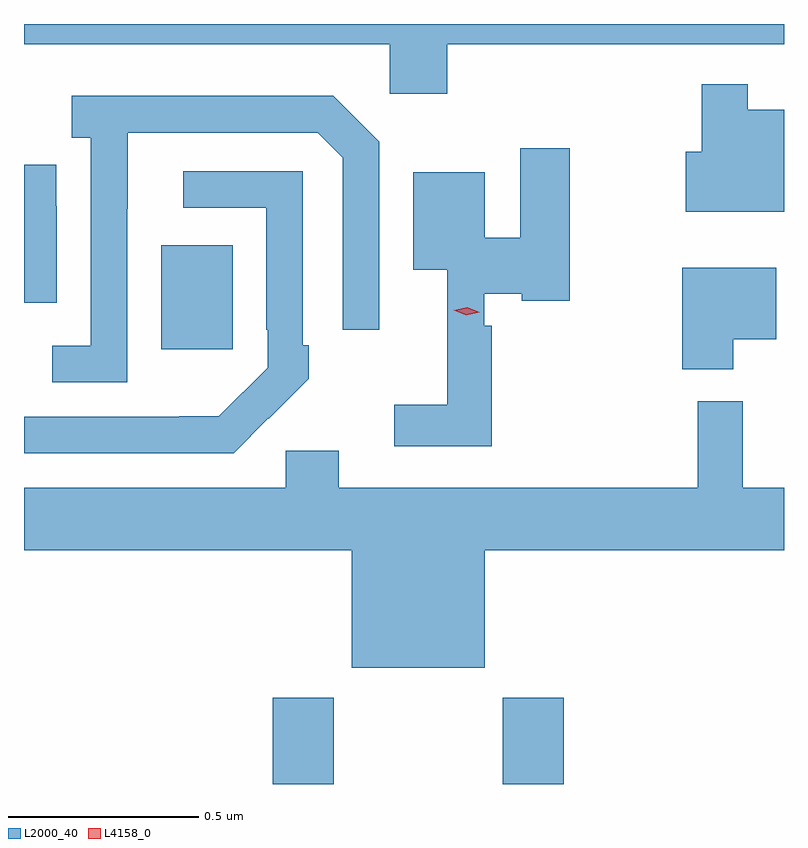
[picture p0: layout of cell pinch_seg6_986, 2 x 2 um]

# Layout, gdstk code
import gdstk
lib = gdstk.Library(unit=1e-6, precision=1e-09)
def R(c, l, rs):  # rectangles x0, y0, x1, y1
    for r in rs: c.add(gdstk.rectangle(r[:2], r[2:], *l))
def P(c, l, *ps):  # polygons
    for p in ps: c.add(gdstk.Polygon(p, *l))
L2000_40 = (2000, 40)
L4158_0 = (4158, 0)

pinch_seg6_986 = lib.new_cell('pinch_seg6_986')
R(pinch_seg6_986, L2000_40, [(354.077,928.073,354.237,928.3), (354.682,928.073,354.842,928.3), (353.783,929.217,353.971,929.491)])
P(pinch_seg6_986, L2000_40, [(354.536,930.02),(355.422,930.02),(355.422,930.073),(353.422,930.073),(353.422,930.02),(354.384,930.02),(354.384,929.889),(354.536,929.889)],
  [(355.422,929.848),(355.327,929.848),(355.327,929.914),(355.206,929.914),(355.206,929.737),(355.164,929.737),(355.164,929.579),(355.422,929.579)],
  [(353.694,929.587),(353.695,929.587),(353.695,929.787),(354.195,929.787),(354.261,929.721),(354.261,929.268),(354.357,929.268),(354.357,929.763),(354.236,929.884),(353.547,929.884),(353.547,929.774),(353.598,929.774),(353.598,929.226),(353.496,929.226),(353.496,929.13),(353.694,929.13)],
  [(354.653,929.279),(354.633,929.279),(354.633,929.363),(354.732,929.363),(354.732,929.345),(354.858,929.345),(354.858,929.746),(354.728,929.746),(354.728,929.51),(354.634,929.51),(354.634,929.683),(354.446,929.683),(354.446,929.426),(354.536,929.426),(354.536,929.071),(354.396,929.071),(354.396,928.962),(354.653,928.962)],
  [(353.508,929.594),(353.507,929.594),(353.507,929.703),(353.422,929.703),(353.422,929.34),(353.508,929.34)],
  [(354.065,929.035),(354.066,929.034),(354.171,929.139),(354.171,929.227),(354.156,929.227),(354.156,929.685),(353.841,929.685),(353.841,929.589),(354.06,929.589),(354.06,929.269),(354.063,929.269),(354.063,929.169),(353.935,929.041),(353.831,929.041),(353.831,929.04),(353.422,929.04),(353.422,928.944),(353.974,928.944)],
  [(355.288,929.243),(355.402,929.243),(355.402,929.431),(355.154,929.431),(355.154,929.165),(355.288,929.165)],
  [(354.634,928.688),(355.422,928.688),(355.422,928.852),(355.313,928.852),(355.313,929.08),(355.195,929.08),(355.195,928.852),(354.25,928.852),(354.25,928.95),(354.111,928.95),(354.111,928.852),(353.422,928.852),(353.422,928.688),(354.284,928.688),(354.284,928.379),(354.634,928.379)])
P(pinch_seg6_986, L4158_0, [(354.586,929.307),(354.553,929.32),(354.552,929.32),(354.553,929.32),(354.588,929.327),(354.621,929.315),(354.621,929.315),(354.621,929.314)])

lib.write_gds('pinch_seg6_986.gds')
